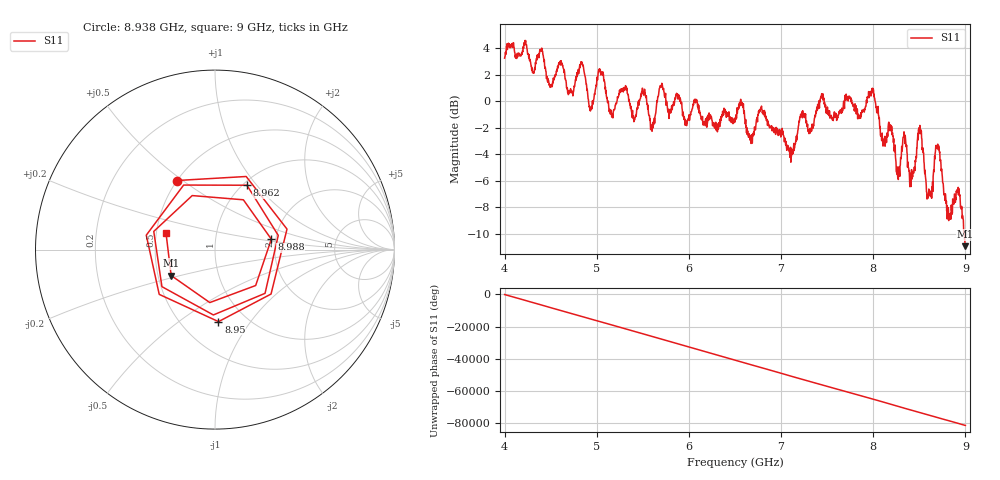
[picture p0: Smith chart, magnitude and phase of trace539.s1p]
! Created with skrf 1.8.0 (http://scikit-rf.org).
# Hz S RI R 50.0
!freq ReS11 ImS11
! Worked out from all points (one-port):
!   1601 points, 4 GHz to 9 GHz, reference 50 ohm
!   lowest |S11| = -10.9 dB at 8.997 GHz (marker M1), VSWR 1.79, Z = 29.3 - j9.2 ohm
!   |S11| at or under -10 dB: 8.988506 GHz to end of sweep
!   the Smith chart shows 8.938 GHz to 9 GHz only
!   S11 on the Smith chart (normalised r, x): 8.938 GHz: 0.50, +0.48; 8.95 GHz: 0.75, -0.72; 8.962 GHz: 1.04, +0.89; 8.988 GHz: 1.89, +0.25; 9 GHz: 0.56, +0.11
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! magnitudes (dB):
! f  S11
! 4 GHz  3.2
! 4.625 GHz  2.8
! 4.716 GHz  0.9
! 4.841 GHz  2.9
! 4.931 GHz  -0.7
! 5.041 GHz  2.2
! 5.156 GHz  -0.7
! 5.25 GHz  0.6
! 5.603 GHz  -1.7
! 5.697 GHz  1.1
! 5.875 GHz  0.4
! 6.5 GHz  -1.6
! 7.125 GHz  -3.8
! 7.225 GHz  -1.0
! 7.75 GHz  0.3
! 7.991 GHz  0.7
! 8.266 GHz  -5.8
! 8.375 GHz  -4.6
! 8.503 GHz  -2.1
! 8.603 GHz  -6.6
! 8.697 GHz  -3.3
! 8.819 GHz  -9.0
! 8.938 GHz  -7.1
! 8.95 GHz  -7.9
! 8.962 GHz  -8.0
! 8.988 GHz  -9.9
! 8.997 GHz  -10.9
! 9 GHz  -10.8
